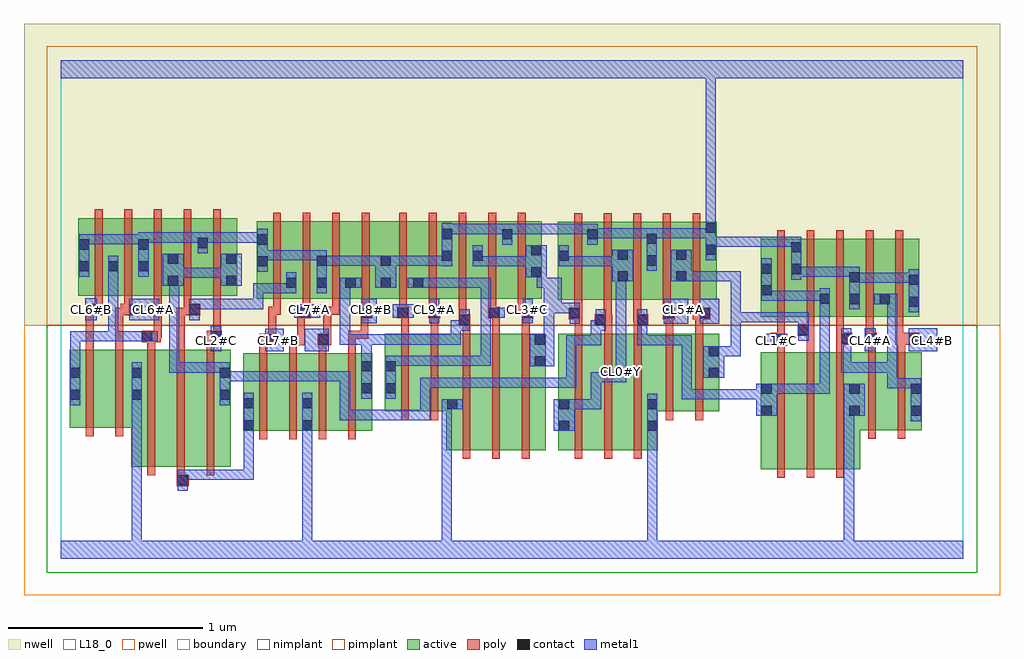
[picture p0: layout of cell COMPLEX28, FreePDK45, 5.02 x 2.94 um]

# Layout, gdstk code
import gdstk
lib = gdstk.Library(unit=1e-6, precision=1e-09)
def R(c, l, rs):  # rectangles x0, y0, x1, y1
    for r in rs: c.add(gdstk.rectangle(r[:2], r[2:], *l))
def A(c, l, x, y, w, h, nx, ny, dx, dy):  # array of equal rectangles
    R(c, l, [(x+i*dx, y+j*dy, x+i*dx+w, y+j*dy+h) for i in range(nx) for j in range(ny)])
active = (1, 0)
pwell = (2, 0)
nwell = (3, 0)
nimplant = (4, 0)
pimplant = (5, 0)
poly = (9, 0)
contact = (10, 0)
metal1 = (11, 0)
L18_0 = (18, 0)
boundary = (235, 0)

complex28 = lib.new_cell('COMPLEX28')
R(complex28, active, [(3.598,0.46,3.778,1.06), (3.778,0.46,3.93,1.06), (3.93,0.46,4.11,1.06), (0.362,0.472,0.542,1.072), (0.542,0.472,0.694,1.072), (0.694,0.472,0.874,1.072), (0.814,0.556,0.874,1.072), (1.982,0.556,2.162,1.156), (2.162,0.556,2.314,1.156), (2.314,0.556,2.494,1.156), (2.434,0.556,2.494,1.156), (2.558,0.556,2.738,1.156), (2.558,0.556,2.618,0.948), (2.738,0.556,2.89,1.156), (2.89,0.556,3.07,1.156), (3.01,0.556,3.07,1.156), (3.598,0.556,3.658,1.06), (0.938,0.656,1.118,1.056), (0.938,0.656,0.998,1.056), (1.118,0.656,1.298,1.056), (1.238,0.656,1.298,1.056), (1.238,0.656,1.422,1.056), (1.422,0.656,1.602,1.056), (4.05,0.66,4.246,1.06), (4.246,0.66,4.426,1.06), (0.046,0.672,0.226,1.072), (0.226,0.672,0.422,1.072), (4.05,0.73,4.11,0.902), (4.366,0.73,4.426,1.06), (0.046,0.756,0.106,1.072), (0.362,0.756,0.422,1.072), (1.542,0.756,1.602,1.056), (1.666,0.756,1.846,1.156), (1.666,0.756,1.726,1.156), (1.846,0.756,2.042,1.156), (1.982,0.756,2.042,1.156), (3.01,0.756,3.206,1.156), (3.206,0.756,3.386,1.156), (3.326,0.756,3.386,1.156), (3.598,1.244,3.658,1.644), (3.598,1.244,3.81,1.644), (3.75,1.244,3.81,1.644), (3.75,1.244,3.958,1.644), (3.898,1.244,3.958,1.644), (3.898,1.244,4.11,1.644), (4.05,1.244,4.11,1.644), (4.05,1.244,4.266,1.644), (4.206,1.244,4.266,1.644), (4.206,1.244,4.414,1.644), (4.354,1.244,4.414,1.644), (2.556,1.33,2.616,1.73), (2.556,1.33,2.764,1.73), (2.704,1.33,2.92,1.73), (2.704,1.33,2.764,1.696), (2.86,1.33,3.068,1.73), (2.86,1.33,2.92,1.644), (3.008,1.33,3.22,1.73), (3.008,1.33,3.068,1.674), (3.16,1.33,3.372,1.73), (3.16,1.33,3.22,1.644), (3.312,1.33,3.372,1.73), (1.008,1.334,1.216,1.734), (1.008,1.334,1.068,1.67), (1.156,1.334,1.372,1.734), (1.156,1.334,1.216,1.644), (1.312,1.334,1.52,1.734), (1.312,1.334,1.372,1.644), (1.46,1.334,1.52,1.644), (1.46,1.334,1.702,1.734), (1.642,1.334,1.702,1.644), (1.642,1.334,1.868,1.734), (1.808,1.334,2.016,1.734), (1.808,1.334,1.868,1.644), (1.956,1.334,2.174,1.734), (1.956,1.334,2.016,1.698), (2.114,1.334,2.326,1.734), (2.114,1.334,2.174,1.644), (2.266,1.334,2.474,1.734), (2.266,1.334,2.326,1.696), (2.414,1.334,2.474,1.644), (0.092,1.35,0.3,1.75), (0.092,1.35,0.152,1.644), (0.24,1.35,0.456,1.75), (0.24,1.35,0.3,1.644), (0.396,1.35,0.608,1.75), (0.548,1.35,0.76,1.75), (0.548,1.35,0.608,1.644), (0.7,1.35,0.908,1.75), (0.7,1.35,0.76,1.652), (0.848,1.35,0.908,1.644), (0.396,1.472,0.456,1.644)])
R(complex28, pwell, [(-0.188,-0.188,4.828,1.2)])
R(complex28, nwell, [(-0.188,1.2,4.828,2.748)])
R(complex28, nimplant, [(-0.072,-0.072,4.712,1.2)])
R(complex28, pimplant, [(-0.072,1.2,4.712,2.632)])
A(complex28, poly, 3.682, 0.416, 0.04, 0.688, 3, 1, 0.152, 0)
A(complex28, poly, 0.446, 0.428, 0.04, 0.688, 3, 1, 0.152, 0)
A(complex28, poly, 2.066, 0.512, 0.04, 0.688, 3, 1, 0.152, 0)
A(complex28, poly, 2.642, 0.512, 0.04, 0.688, 3, 1, 0.152, 0)
A(complex28, poly, 1.022, 0.612, 0.04, 0.488, 4, 1, 0.152, 0)
A(complex28, poly, 1.022, 1.06, 0.04, 0.076, 3, 1, 0.152, 0)
A(complex28, poly, 3.986, 1.12, 0.04, 0.12, 3, 1, 0.152, 0)
A(complex28, poly, 3.682, 1.2, 0.04, 0.488, 5, 1, 0.152, 0)
A(complex28, poly, 1.092, 1.254, 0.04, 0.076, 4, 1, 0.152, 0)
A(complex28, poly, 2.64, 1.286, 0.04, 0.488, 5, 1, 0.152, 0)
A(complex28, poly, 1.092, 1.29, 0.04, 0.488, 4, 1, 0.152, 0)
A(complex28, poly, 2.046, 1.29, 0.04, 0.488, 3, 1, 0.152, 0)
A(complex28, poly, 0.176, 1.306, 0.04, 0.488, 5, 1, 0.152, 0)
R(complex28, poly, [(0.598,0.372,0.658,0.432), (0.598,0.392,0.638,0.468), (4.15,0.616,4.19,1.104), (4.302,0.616,4.342,1.104), (0.13,0.628,0.17,1.116), (0.282,0.628,0.322,1.116), (1.75,0.712,1.79,1.2), (1.902,0.712,1.942,1.2), (3.11,0.712,3.15,1.2), (3.262,0.712,3.302,1.2), (1.478,1.06,1.518,1.17), (3.682,1.064,3.722,1.14), (3.834,1.064,3.874,1.184), (3.986,1.064,4.026,1.14), (4.15,1.064,4.19,1.14), (4.302,1.064,4.342,1.14), (0.13,1.076,0.17,1.29), (0.282,1.076,0.322,1.29), (0.446,1.076,0.486,1.152), (0.598,1.076,0.638,1.29), (0.75,1.076,0.79,1.152), (1.022,1.096,1.108,1.156), (1.174,1.096,1.256,1.136), (1.216,1.096,1.256,1.274), (1.322,1.096,1.39,1.156), (3.65,1.1,3.722,1.16), (3.986,1.1,4.068,1.16), (4.134,1.1,4.194,1.16), (4.15,1.1,4.19,1.14), (4.15,1.1,4.19,1.14), (4.29,1.1,4.414,1.16), (4.302,1.1,4.342,1.14), (4.302,1.1,4.342,1.14), (0.416,1.112,0.516,1.172), (0.75,1.112,0.828,1.172), (1.068,1.116,1.108,1.294), (1.35,1.116,1.39,1.294), (3.682,1.12,3.722,1.24), (3.682,1.12,3.722,1.16), (3.682,1.12,3.722,1.16), (3.986,1.12,4.026,1.16), (3.986,1.12,4.026,1.16), (1.478,1.13,1.582,1.17), (1.542,1.13,1.582,1.274), (0.476,1.132,0.516,1.172), (0.476,1.132,0.52,1.172), (0.48,1.132,0.52,1.346), (0.784,1.132,0.824,1.172), (0.784,1.132,0.824,1.172), (0.784,1.132,0.824,1.346), (3.788,1.144,3.874,1.204), (3.834,1.144,3.874,1.184), (3.834,1.144,3.874,1.184), (1.75,1.16,1.79,1.274), (1.902,1.16,1.942,1.274), (2.066,1.16,2.106,1.236), (2.218,1.16,2.258,1.274), (2.37,1.16,2.41,1.274), (2.642,1.16,2.682,1.27), (2.794,1.16,2.834,1.236), (2.946,1.16,2.986,1.236), (3.11,1.16,3.15,1.27), (3.262,1.16,3.302,1.27), (3.834,1.164,3.874,1.24), (2.046,1.196,2.106,1.256), (2.746,1.196,2.834,1.256), (2.946,1.196,3.02,1.256), (2.046,1.216,2.086,1.256), (2.046,1.216,2.086,1.256), (2.046,1.216,2.086,1.33), (2.792,1.216,2.832,1.256), (2.792,1.216,2.832,1.256), (2.792,1.216,2.832,1.326), (2.944,1.216,2.984,1.326), (2.944,1.216,2.986,1.256), (2.946,1.216,2.986,1.256), (2.612,1.23,2.68,1.29), (2.64,1.23,2.68,1.27), (2.64,1.23,2.682,1.27), (3.096,1.23,3.156,1.29), (3.11,1.23,3.15,1.27), (3.11,1.23,3.15,1.27), (3.248,1.23,3.34,1.29), (3.262,1.23,3.302,1.27), (3.262,1.23,3.302,1.27), (1.216,1.234,1.284,1.294), (1.542,1.234,1.602,1.294), (1.73,1.234,1.79,1.294), (1.75,1.234,1.79,1.274), (1.75,1.234,1.79,1.274), (1.89,1.234,1.95,1.294), (1.902,1.234,1.942,1.274), (1.902,1.234,1.942,1.274), (2.198,1.234,2.258,1.294), (2.37,1.234,2.43,1.294), (0.13,1.25,0.17,1.29), (0.13,1.25,0.17,1.29), (0.13,1.25,0.216,1.31), (0.282,1.25,0.35,1.29), (0.31,1.25,0.35,1.29), (0.31,1.25,0.41,1.31), (0.598,1.25,0.672,1.29), (0.632,1.25,0.672,1.29), (0.632,1.25,0.718,1.31), (2.64,1.25,2.68,1.326), (3.096,1.25,3.136,1.326), (3.248,1.25,3.288,1.326), (1.068,1.254,1.132,1.294), (1.35,1.254,1.436,1.294), (1.74,1.254,1.78,1.33), (1.892,1.254,1.932,1.33), (2.198,1.254,2.238,1.294), (2.198,1.254,2.238,1.294), (2.198,1.254,2.238,1.33), (2.35,1.254,2.39,1.33), (2.35,1.254,2.41,1.294), (2.37,1.254,2.41,1.294), (0.176,1.27,0.216,1.346), (0.328,1.27,0.368,1.346), (0.632,1.27,0.672,1.346), (1.74,1.29,1.78,1.778), (1.892,1.29,1.932,1.778)])
R(complex28, contact, [(0.602,0.376,0.654,0.428), (2.562,0.656,2.614,0.708), (3.014,0.656,3.066,0.708), (0.942,0.66,0.994,0.712), (1.242,0.66,1.294,0.712), (3.602,0.734,3.654,0.786), (4.054,0.734,4.106,0.786), (4.37,0.734,4.422,0.786), (1.986,0.768,2.038,0.82), (2.562,0.768,2.614,0.82), (3.014,0.768,3.066,0.82), (0.942,0.772,0.994,0.824), (1.242,0.772,1.294,0.824), (0.05,0.816,0.102,0.868), (0.366,0.816,0.418,0.868), (0.818,0.816,0.87,0.868), (3.602,0.846,3.654,0.898), (4.054,0.846,4.106,0.898), (4.37,0.846,4.422,0.898), (1.546,0.85,1.598,0.902), (1.67,0.85,1.722,0.902), (0.05,0.928,0.102,0.98), (0.366,0.928,0.418,0.98), (0.818,0.928,0.87,0.98), (3.33,0.928,3.382,0.98), (1.546,0.962,1.598,1.014), (1.67,0.962,1.722,1.014), (2.438,0.988,2.49,1.04), (3.33,1.04,3.382,1.092), (1.052,1.1,1.104,1.152), (1.326,1.1,1.378,1.152), (2.438,1.1,2.49,1.152), (3.654,1.104,3.706,1.156), (4.012,1.104,4.064,1.156), (4.138,1.104,4.19,1.156), (4.358,1.104,4.41,1.156), (0.42,1.116,0.472,1.168), (0.772,1.116,0.824,1.168), (3.792,1.148,3.844,1.2), (2.05,1.2,2.102,1.252), (2.75,1.2,2.802,1.252), (2.964,1.2,3.016,1.252), (2.616,1.234,2.668,1.286), (3.1,1.234,3.152,1.286), (3.284,1.234,3.336,1.286), (1.228,1.238,1.28,1.29), (1.546,1.238,1.598,1.29), (1.734,1.238,1.786,1.29), (1.894,1.238,1.946,1.29), (2.202,1.238,2.254,1.29), (2.374,1.238,2.426,1.29), (0.134,1.254,0.186,1.306), (0.354,1.254,0.406,1.306), (0.662,1.254,0.714,1.306), (4.358,1.294,4.41,1.346), (4.054,1.308,4.106,1.36), (4.21,1.308,4.262,1.36), (3.902,1.31,3.954,1.362), (3.602,1.352,3.654,1.404), (1.16,1.392,1.212,1.444), (1.316,1.392,1.368,1.444), (1.464,1.392,1.516,1.444), (1.646,1.392,1.698,1.444), (1.812,1.392,1.864,1.444), (0.552,1.402,0.604,1.454), (0.852,1.402,0.904,1.454), (4.358,1.406,4.41,1.458), (4.054,1.42,4.106,1.472), (2.864,1.424,2.916,1.476), (3.164,1.424,3.216,1.476), (2.418,1.446,2.47,1.498), (3.754,1.462,3.806,1.514), (3.602,1.464,3.654,1.516), (0.096,1.476,0.148,1.528), (0.244,1.476,0.296,1.528), (0.4,1.476,0.452,1.528), (1.012,1.502,1.064,1.554), (1.316,1.504,1.368,1.556), (1.646,1.504,1.698,1.556), (3.012,1.506,3.064,1.558), (0.552,1.514,0.604,1.566), (0.852,1.514,0.904,1.566), (1.96,1.53,2.012,1.582), (2.118,1.53,2.17,1.582), (2.56,1.53,2.612,1.582), (2.864,1.536,2.916,1.588), (3.164,1.536,3.216,1.588), (2.418,1.558,2.47,1.61), (3.316,1.562,3.368,1.614), (3.754,1.574,3.806,1.626), (0.096,1.588,0.148,1.64), (0.4,1.588,0.452,1.64), (0.704,1.596,0.756,1.648), (1.012,1.614,1.064,1.666), (3.012,1.618,3.064,1.67), (2.27,1.64,2.322,1.692), (2.708,1.64,2.76,1.692), (1.96,1.642,2.012,1.694), (3.316,1.674,3.368,1.726)])
A(complex28, metal1, 2.854, 1.646, 0.052, 0.052, 3, 1, 0.11, 0)
R(complex28, metal1, [(0,0,4.64,0.092), (0.366,0.04,0.418,0.092), (0.366,0.04,0.418,0.092), (0.366,0.04,0.418,0.84), (1.242,0.04,1.294,0.684), (1.958,0.04,2.01,0.82), (3.014,0.04,3.066,0.092), (3.014,0.04,3.066,0.092), (3.014,0.04,3.066,0.092), (3.014,0.04,3.066,0.092), (3.014,0.04,3.066,0.092), (3.014,0.04,3.066,0.092), (3.014,0.04,3.066,0.68), (4.026,0.04,4.078,0.092), (4.026,0.04,4.078,0.092), (4.026,0.04,4.078,0.786), (0.602,0.348,0.654,0.456), (0.602,0.404,0.744,0.456), (0.692,0.404,0.744,0.456), (0.692,0.404,0.882,0.456), (0.83,0.404,0.882,0.456), (0.83,0.404,0.882,0.456), (0.83,0.404,0.882,0.456), (0.83,0.404,0.882,0.456), (0.83,0.404,0.882,0.456), (0.83,0.404,0.994,0.456), (0.942,0.404,0.994,0.456), (0.942,0.404,0.994,0.456), (0.942,0.404,0.994,0.456), (0.942,0.404,0.994,0.684), (3.014,0.628,3.066,0.68), (3.014,0.628,3.066,0.68), (3.014,0.628,3.066,0.848), (0.942,0.632,0.994,0.852), (1.242,0.632,1.294,0.684), (1.242,0.632,1.294,0.684), (1.242,0.632,1.294,0.684), (1.242,0.632,1.294,0.684), (1.242,0.632,1.294,0.684), (1.242,0.632,1.294,0.684), (1.242,0.632,1.294,0.684), (1.242,0.632,1.294,0.684), (1.242,0.632,1.294,0.684), (1.242,0.632,1.294,0.684), (1.242,0.632,1.294,0.684), (1.242,0.632,1.294,0.684), (1.242,0.632,1.294,0.852), (2.534,0.656,2.642,0.82), (4.37,0.706,4.422,0.926), (1.436,0.712,1.488,0.764), (1.436,0.712,1.488,0.764), (1.436,0.712,1.488,0.764), (1.436,0.712,1.598,0.764), (1.436,0.712,1.488,0.962), (1.546,0.712,1.598,0.764), (1.546,0.712,1.598,0.764), (1.546,0.712,1.598,0.764), (1.546,0.712,1.756,0.764), (1.704,0.712,1.756,0.764), (1.704,0.712,1.9,0.764), (1.848,0.712,1.9,0.93), (3.574,0.734,3.682,0.898), (4.026,0.734,4.078,0.786), (4.026,0.734,4.078,0.786), (4.026,0.734,4.078,0.786), (4.026,0.734,4.078,0.786), (4.026,0.734,4.078,0.786), (4.026,0.734,4.078,0.786), (4.026,0.734,4.134,0.898), (1.958,0.768,2.01,0.82), (1.958,0.768,2.01,0.82), (1.958,0.768,2.01,0.82), (1.958,0.768,2.01,0.82), (1.958,0.768,2.01,0.82), (1.958,0.768,2.01,0.82), (1.958,0.768,2.01,0.82), (1.958,0.768,2.01,0.82), (1.958,0.768,2.066,0.82), (2.59,0.768,2.646,0.82), (2.594,0.768,2.646,0.82), (2.594,0.768,2.778,0.82), (2.726,0.768,2.778,0.82), (2.726,0.768,2.778,0.958), (0.05,0.788,0.102,1.008), (0.366,0.788,0.418,0.84), (0.366,0.788,0.418,0.84), (0.366,0.788,0.418,0.84), (0.366,0.788,0.418,0.84), (0.366,0.788,0.418,0.84), (0.366,0.788,0.418,0.84), (0.366,0.788,0.418,1.008), (0.818,0.788,0.87,1.008), (3.192,0.818,3.244,0.87), (3.192,0.818,3.244,0.87), (3.192,0.818,3.244,0.87), (3.192,0.818,3.354,0.87), (3.192,0.818,3.244,1.148), (3.302,0.818,3.354,0.87), (3.302,0.818,3.626,0.87), (1.546,0.822,1.598,1.042), (1.67,0.822,1.722,1.042), (3.63,0.846,3.682,0.898), (3.63,0.846,3.682,0.898), (3.63,0.846,3.682,0.898), (3.63,0.846,3.682,0.898), (3.63,0.846,3.792,0.898), (3.74,0.846,3.792,0.898), (3.74,0.846,3.954,0.898), (3.902,0.846,3.954,0.898), (3.902,0.846,3.954,0.898), (3.902,0.846,3.954,0.898), (3.902,0.846,3.954,0.898), (3.902,0.846,3.954,0.898), (3.902,0.846,3.954,0.898), (3.902,0.846,3.954,0.898), (3.902,0.846,3.954,1.334), (4.248,0.874,4.3,0.926), (4.248,0.874,4.422,0.926), (4.248,0.874,4.3,1.008), (4.37,0.874,4.422,0.926), (4.37,0.874,4.422,0.926), (1.848,0.878,1.9,0.93), (1.848,0.878,1.9,0.93), (1.848,0.878,2.01,0.93), (1.958,0.878,2.01,0.93), (1.958,0.878,2.102,0.93), (2.05,0.878,2.102,0.93), (2.05,0.878,2.212,0.93), (2.16,0.878,2.212,0.93), (2.16,0.878,2.212,0.93), (2.16,0.878,2.212,0.93), (2.16,0.878,2.332,0.93), (2.28,0.878,2.332,0.93), (2.28,0.878,2.442,0.93), (2.39,0.878,2.442,0.93), (2.39,0.878,2.442,0.93), (2.39,0.878,2.442,0.93), (2.39,0.878,2.65,0.93), (2.598,0.878,2.65,0.93), (2.598,0.878,2.65,0.93), (2.598,0.878,2.65,0.93), (2.598,0.878,2.65,1.148), (2.726,0.906,2.778,0.958), (2.726,0.906,2.778,0.958), (2.726,0.906,2.778,0.958), (2.726,0.906,2.778,0.958), (2.726,0.906,2.778,0.958), (2.726,0.906,2.906,0.958), (2.854,0.906,2.906,0.958), (2.854,0.906,2.906,0.958), (2.854,0.906,2.906,1.014), (0.818,0.91,1.074,0.962), (1.022,0.91,1.074,0.962), (1.022,0.91,1.074,0.962), (1.022,0.91,1.074,0.962), (1.022,0.91,1.184,0.962), (1.132,0.91,1.184,0.962), (1.132,0.91,1.184,0.962), (1.132,0.91,1.184,0.962), (1.132,0.91,1.294,0.962), (1.242,0.91,1.294,0.962), (1.242,0.91,1.294,0.962), (1.242,0.91,1.294,0.962), (1.242,0.91,1.488,0.962), (1.436,0.91,1.488,0.962), (3.302,0.928,3.41,1.092), (0.05,0.956,0.102,1.168), (0.558,0.956,0.61,1.008), (0.558,0.956,0.714,1.008), (0.558,0.956,0.61,1.454), (0.662,0.956,0.714,1.008), (0.662,0.956,0.744,1.008), (0.692,0.956,0.744,1.008), (0.692,0.956,0.87,1.008), (0.818,0.956,0.87,1.008), (0.818,0.956,0.87,1.008), (4.012,0.956,4.3,1.008), (4.012,0.956,4.064,1.128), (4.248,0.956,4.3,1.008), (4.248,0.956,4.3,1.008), (4.248,0.956,4.3,1.008), (4.248,0.956,4.3,1.36), (2.854,0.962,2.906,1.476), (2.41,0.988,2.536,1.152), (1.546,0.99,1.598,1.152), (1.67,0.99,1.722,1.042), (1.67,0.99,1.722,1.042), (1.67,0.99,1.9,1.042), (1.848,0.99,1.9,1.042), (1.848,0.99,1.9,1.042), (1.848,0.99,1.9,1.042), (1.848,0.99,2.06,1.042), (2.008,0.99,2.06,1.042), (2.008,0.99,2.06,1.042), (2.008,0.99,2.06,1.042), (2.008,0.99,2.212,1.042), (2.16,0.99,2.212,1.042), (2.16,0.99,2.212,1.29), (3.358,1.04,3.41,1.092), (3.358,1.04,3.496,1.092), (3.444,1.04,3.496,1.266), (0.772,1.066,0.826,1.196), (1.052,1.066,1.146,1.18), (1.254,1.066,1.378,1.18), (4.134,1.066,4.19,1.184), (4.358,1.066,4.506,1.184), (4.012,1.076,4.064,1.128), (4.012,1.076,4.064,1.184), (3.626,1.094,3.734,1.156), (2.598,1.096,2.65,1.148), (2.598,1.096,2.65,1.148), (2.598,1.096,2.65,1.148), (2.598,1.096,2.778,1.148), (2.726,1.096,2.778,1.224), (2.964,1.096,3.126,1.148), (2.964,1.096,3.016,1.224), (3.074,1.096,3.126,1.148), (3.074,1.096,3.244,1.148), (3.192,1.096,3.244,1.148), (3.192,1.096,3.244,1.148), (3.192,1.096,3.244,1.148), (1.436,1.1,1.488,1.152), (1.436,1.1,1.488,1.152), (1.436,1.1,1.488,1.152), (1.436,1.1,1.488,1.152), (1.436,1.1,1.488,1.152), (1.436,1.1,1.598,1.152), (1.436,1.1,1.488,1.444), (1.546,1.1,1.598,1.152), (1.546,1.1,1.598,1.152), (1.546,1.1,1.598,1.152), (1.546,1.1,1.722,1.152), (1.67,1.1,1.722,1.152), (1.67,1.1,1.866,1.152), (1.814,1.1,1.866,1.152), (1.814,1.1,1.866,1.152), (1.814,1.1,1.866,1.152), (1.814,1.1,2.056,1.152), (2.004,1.1,2.056,1.224), (2.484,1.1,2.536,1.152), (2.484,1.1,2.536,1.152), (2.484,1.1,2.536,1.444), (0.05,1.116,0.102,1.168), (0.05,1.116,0.102,1.168), (0.05,1.116,0.102,1.168), (0.05,1.116,0.296,1.168), (0.244,1.116,0.296,1.168), (0.244,1.116,0.296,1.168), (0.244,1.116,0.296,1.168), (0.244,1.116,0.296,1.168), (0.244,1.116,0.296,1.168), (0.244,1.116,0.444,1.168), (0.244,1.116,0.296,1.5), (0.392,1.116,0.444,1.168), (0.392,1.116,0.444,1.168), (0.392,1.116,0.5,1.168), (3.792,1.12,3.844,1.228), (2.004,1.172,2.102,1.224), (2.05,1.172,2.102,1.28), (2.726,1.172,2.802,1.224), (2.75,1.172,2.802,1.28), (2.964,1.172,3.016,1.224), (2.964,1.172,3.016,1.28), (3.792,1.176,3.844,1.228), (3.792,1.176,3.844,1.266), (2.616,1.206,2.668,1.314), (3.1,1.206,3.226,1.334), (3.284,1.206,3.386,1.334), (1.546,1.21,1.626,1.334), (1.894,1.21,1.946,1.334), (2.374,1.21,2.426,1.334), (3.444,1.214,3.496,1.266), (3.444,1.214,3.496,1.266), (3.444,1.214,3.496,1.266), (3.444,1.214,3.722,1.266), (3.444,1.214,3.496,1.476), (3.67,1.214,3.722,1.266), (3.67,1.214,3.844,1.266), (0.126,1.226,0.186,1.338), (0.354,1.226,0.506,1.334), (0.662,1.226,0.714,1.334), (1.2,1.238,1.334,1.306), (1.706,1.238,1.814,1.306), (2.16,1.238,2.212,1.29), (2.16,1.238,2.226,1.29), (2.16,1.238,2.212,1.444), (2.174,1.238,2.282,1.29), (2.524,1.262,2.668,1.314), (2.524,1.262,2.576,1.444), (4.358,1.266,4.41,1.486), (4.054,1.28,4.106,1.5), (0.662,1.282,0.76,1.334), (0.708,1.282,0.76,1.334), (0.708,1.282,0.87,1.334), (0.818,1.282,0.87,1.334), (0.818,1.282,0.87,1.334), (0.818,1.282,0.87,1.334), (0.818,1.282,1.042,1.334), (0.99,1.282,1.042,1.334), (0.99,1.282,1.042,1.416), (3.902,1.282,3.954,1.39), (4.182,1.308,4.3,1.36), (4.248,1.308,4.3,1.36), (4.248,1.308,4.3,1.36), (3.602,1.324,3.654,1.376), (3.602,1.324,3.654,1.376), (3.602,1.324,3.654,1.544), (3.602,1.324,3.802,1.376), (3.75,1.324,3.802,1.376), (3.75,1.324,3.954,1.376), (3.902,1.324,3.954,1.376), (3.902,1.324,3.954,1.376), (0.99,1.364,1.042,1.416), (0.99,1.364,1.042,1.416), (0.99,1.364,1.042,1.416), (0.99,1.364,1.212,1.416), (1.16,1.364,1.212,1.472), (1.316,1.364,1.368,1.584), (1.436,1.392,1.544,1.444), (1.618,1.392,1.726,1.556), (1.784,1.392,1.892,1.444), (1.84,1.392,1.892,1.444), (1.84,1.392,1.892,1.444), (1.84,1.392,2.056,1.444), (2.004,1.392,2.056,1.444), (2.004,1.392,2.056,1.444), (2.004,1.392,2.056,1.444), (2.004,1.392,2.056,1.444), (2.004,1.392,2.056,1.444), (2.004,1.392,2.212,1.444), (2.16,1.392,2.212,1.444), (2.446,1.392,2.536,1.444), (2.446,1.392,2.498,1.498), (2.484,1.392,2.576,1.444), (0.524,1.402,0.632,1.566), (0.558,1.402,0.61,1.454), (0.558,1.402,0.61,1.454), (0.558,1.402,0.61,1.454), (0.558,1.402,0.61,1.454), (0.824,1.402,0.932,1.566), (4.054,1.418,4.216,1.47), (4.164,1.418,4.216,1.47), (4.164,1.418,4.216,1.47), (4.164,1.418,4.216,1.47), (4.164,1.418,4.41,1.47), (4.358,1.418,4.41,1.47), (4.358,1.418,4.41,1.47), (2.836,1.424,2.944,1.588), (2.854,1.424,2.906,1.476), (2.854,1.424,2.906,1.476), (3.136,1.424,3.244,1.588), (3.192,1.424,3.244,1.476), (3.192,1.424,3.244,1.476), (3.192,1.424,3.496,1.476), (3.444,1.424,3.496,1.476), (3.754,1.434,3.806,1.654), (0.58,1.442,0.632,1.494), (0.58,1.442,0.632,1.494), (0.58,1.442,0.76,1.494), (0.708,1.442,0.76,1.494), (0.708,1.442,0.876,1.494), (0.824,1.442,0.876,1.494), (0.824,1.442,0.876,1.494), (2.39,1.446,2.498,1.61), (0.096,1.448,0.148,1.668), (0.244,1.448,0.296,1.556), (0.4,1.448,0.452,1.668), (3.754,1.448,3.954,1.5), (3.902,1.448,3.954,1.5), (3.902,1.448,3.954,1.5), (3.902,1.448,3.954,1.5), (3.902,1.448,4.076,1.5), (4.024,1.448,4.076,1.5), (4.024,1.448,4.106,1.5), (1.012,1.474,1.064,1.694), (3.012,1.478,3.064,1.698), (1.96,1.502,2.012,1.722), (2.118,1.502,2.17,1.61), (2.118,1.502,2.212,1.554), (2.16,1.502,2.212,1.554), (2.16,1.502,2.332,1.554), (2.28,1.502,2.332,1.554), (2.28,1.502,2.442,1.554), (2.39,1.502,2.442,1.554), (2.39,1.502,2.442,1.554), (2.56,1.502,2.612,1.61), (2.56,1.502,2.65,1.554), (2.598,1.502,2.65,1.554), (2.598,1.502,2.76,1.554), (2.708,1.502,2.76,1.554), (2.708,1.502,2.76,1.554), (2.708,1.502,2.76,1.554), (2.708,1.502,2.888,1.554), (1.316,1.504,1.368,1.556), (1.316,1.504,1.368,1.556), (1.316,1.504,1.488,1.556), (1.436,1.504,1.488,1.556), (1.436,1.504,1.488,1.556), (1.436,1.504,1.488,1.556), (1.436,1.504,1.612,1.556), (1.56,1.504,1.612,1.556), (1.56,1.504,1.67,1.556), (1.674,1.504,1.726,1.556), (1.674,1.504,1.726,1.556), (1.674,1.504,1.9,1.556), (1.848,1.504,1.9,1.556), (1.848,1.504,1.9,1.556), (1.848,1.504,1.9,1.556), (1.848,1.504,2.012,1.556), (1.012,1.532,1.064,1.584), (1.012,1.532,1.064,1.584), (1.012,1.532,1.184,1.584), (1.132,1.532,1.184,1.584), (1.132,1.532,1.184,1.584), (1.132,1.532,1.184,1.584), (1.132,1.532,1.368,1.584), (3.316,1.534,3.368,1.754), (0.704,1.568,0.756,1.676), (3.316,1.602,3.606,1.654), (3.554,1.602,3.606,1.654), (3.554,1.602,3.606,1.654), (3.554,1.602,3.606,1.654), (3.554,1.602,3.806,1.654), (2.27,1.612,2.322,1.72), (2.708,1.612,2.76,1.72), (0.096,1.616,0.148,1.668), (0.096,1.616,0.148,1.668), (0.096,1.616,0.308,1.668), (0.256,1.616,0.308,1.668), (0.256,1.616,0.308,1.668), (0.256,1.616,0.308,1.668), (0.256,1.616,0.452,1.668), (0.4,1.616,0.452,1.668), (0.4,1.616,0.452,1.676), (0.4,1.624,0.634,1.676), (0.582,1.624,0.634,1.676), (0.582,1.624,0.634,1.676), (0.582,1.624,0.634,1.676), (0.582,1.624,0.756,1.676), (0.704,1.624,0.87,1.676), (0.818,1.624,0.87,1.676), (0.818,1.624,0.87,1.676), (0.818,1.624,0.87,1.676), (0.818,1.624,1.064,1.676), (2.708,1.646,2.76,1.698), (2.708,1.646,2.76,1.698), (2.708,1.646,2.906,1.698), (2.854,1.646,3.016,1.698), (2.964,1.646,3.064,1.698), (3.012,1.646,3.126,1.698), (3.074,1.646,3.174,1.698), (3.122,1.646,3.174,1.698), (3.122,1.646,3.368,1.698), (3.316,1.646,3.368,1.698), (3.316,1.646,3.368,1.698), (1.96,1.668,2.056,1.72), (2.004,1.668,2.056,1.72), (2.004,1.668,2.212,1.72), (2.16,1.668,2.212,1.72), (2.16,1.668,2.212,1.72), (2.16,1.668,2.212,1.72), (2.16,1.668,2.322,1.72), (2.27,1.668,2.466,1.72), (2.414,1.668,2.466,1.72), (2.414,1.668,2.466,1.72), (2.414,1.668,2.466,1.72), (2.414,1.668,2.65,1.72), (2.598,1.668,2.65,1.72), (2.598,1.668,2.65,1.72), (2.598,1.668,2.65,1.72), (2.598,1.668,2.76,1.72), (3.316,1.702,3.368,1.754), (3.316,1.702,3.368,1.754), (3.316,1.702,3.368,1.754), (3.316,1.702,3.368,1.754), (3.316,1.702,3.368,1.754), (3.316,1.702,3.368,1.754), (3.316,1.702,3.368,1.754), (3.316,1.702,3.368,1.754), (3.316,1.702,3.368,1.754), (3.316,1.702,3.368,1.754), (3.316,1.702,3.368,2.52), (0,2.468,4.64,2.56), (3.316,2.468,3.368,2.52), (3.316,2.468,3.368,2.52), (3.316,2.468,3.368,2.52), (3.316,2.468,3.368,2.52), (3.316,2.468,3.368,2.52), (3.316,2.468,3.368,2.52)])
A(complex28, L18_0, 1.574, 1.254, 0.052, 0.052, 3, 1, 0.16, 0)
A(complex28, L18_0, 2.854, 1.646, 0.052, 0.052, 3, 1, 0.11, 0)
R(complex28, L18_0, [(0,0,4.64,0.092), (0.366,0.04,0.418,0.092), (0.366,0.04,0.418,0.092), (0.366,0.04,0.418,0.84), (1.242,0.04,1.294,0.684), (1.958,0.04,2.01,0.82), (3.014,0.04,3.066,0.092), (3.014,0.04,3.066,0.092), (3.014,0.04,3.066,0.092), (3.014,0.04,3.066,0.092), (3.014,0.04,3.066,0.092), (3.014,0.04,3.066,0.092), (3.014,0.04,3.066,0.68), (4.026,0.04,4.078,0.092), (4.026,0.04,4.078,0.092), (4.026,0.04,4.078,0.786), (3.014,0.628,3.066,0.848), (3.014,0.628,3.066,0.68), (3.014,0.628,3.066,0.68), (1.242,0.632,1.294,0.852), (1.242,0.632,1.294,0.684), (1.242,0.632,1.294,0.684), (1.242,0.632,1.294,0.684), (1.242,0.632,1.294,0.684), (1.242,0.632,1.294,0.684), (1.242,0.632,1.294,0.684), (1.242,0.632,1.294,0.684), (1.242,0.632,1.294,0.684), (1.242,0.632,1.294,0.684), (1.242,0.632,1.294,0.684), (1.242,0.632,1.294,0.684), (1.242,0.632,1.294,0.684), (2.534,0.656,2.642,0.82), (4.026,0.734,4.078,0.786), (4.026,0.734,4.078,0.786), (4.026,0.734,4.078,0.786), (4.026,0.734,4.078,0.786), (4.026,0.734,4.078,0.786), (4.026,0.734,4.078,0.786), (4.026,0.734,4.134,0.898), (1.958,0.768,2.01,0.82), (1.958,0.768,2.01,0.82), (1.958,0.768,2.01,0.82), (1.958,0.768,2.01,0.82), (1.958,0.768,2.01,0.82), (1.958,0.768,2.01,0.82), (1.958,0.768,2.01,0.82), (1.958,0.768,2.01,0.82), (1.958,0.768,2.066,0.82), (2.59,0.768,2.646,0.82), (2.594,0.768,2.646,0.82), (2.594,0.768,2.778,0.82), (2.726,0.768,2.778,0.82), (2.726,0.768,2.778,0.958), (0.366,0.788,0.418,1.008), (0.366,0.788,0.418,0.84), (0.366,0.788,0.418,0.84), (0.366,0.788,0.418,0.84), (0.366,0.788,0.418,0.84), (0.366,0.788,0.418,0.84), (0.366,0.788,0.418,0.84), (2.726,0.906,2.778,0.958), (2.726,0.906,2.778,0.958), (2.726,0.906,2.778,0.958), (2.726,0.906,2.778,0.958), (2.726,0.906,2.778,0.958), (2.726,0.906,2.906,0.958), (2.854,0.906,2.906,0.958), (2.854,0.906,2.906,0.958), (2.854,0.906,2.906,1.014), (2.854,0.934,2.906,0.986), (2.854,0.962,2.906,1.476), (0.772,1.066,0.826,1.196), (1.052,1.066,1.146,1.18), (1.254,1.066,1.378,1.18), (4.134,1.066,4.19,1.184), (4.358,1.066,4.506,1.184), (0.774,1.094,0.826,1.146), (1.094,1.094,1.146,1.146), (1.254,1.094,1.306,1.146), (3.626,1.094,3.734,1.156), (3.654,1.094,3.706,1.146), (4.134,1.094,4.186,1.146), (4.454,1.094,4.506,1.146), (3.1,1.206,3.226,1.334), (3.284,1.206,3.386,1.334), (1.546,1.21,1.626,1.334), (1.894,1.21,1.946,1.334), (2.374,1.21,2.426,1.334), (0.126,1.226,0.186,1.338), (0.354,1.226,0.506,1.334), (1.2,1.238,1.334,1.306), (1.706,1.238,1.814,1.306), (0.134,1.254,0.186,1.306), (0.454,1.254,0.506,1.306), (1.254,1.254,1.306,1.306), (2.374,1.254,2.426,1.306), (3.174,1.254,3.226,1.306), (3.334,1.254,3.386,1.306), (4.358,1.266,4.41,1.486), (4.054,1.28,4.106,1.5), (1.316,1.364,1.368,1.584), (1.618,1.392,1.726,1.556), (4.054,1.418,4.216,1.47), (4.164,1.418,4.216,1.47), (4.164,1.418,4.216,1.47), (4.164,1.418,4.216,1.47), (4.164,1.418,4.41,1.47), (4.358,1.418,4.41,1.47), (4.358,1.418,4.41,1.47), (2.836,1.424,2.944,1.588), (2.854,1.424,2.906,1.476), (2.854,1.424,2.906,1.476), (3.754,1.434,3.806,1.654), (0.096,1.448,0.148,1.668), (0.4,1.448,0.452,1.668), (3.754,1.448,3.954,1.5), (3.902,1.448,3.954,1.5), (3.902,1.448,3.954,1.5), (3.902,1.448,3.954,1.5), (3.902,1.448,4.076,1.5), (4.024,1.448,4.076,1.5), (4.024,1.448,4.106,1.5), (1.012,1.474,1.064,1.694), (3.012,1.478,3.064,1.698), (1.96,1.502,2.012,1.722), (2.56,1.502,2.612,1.61), (2.56,1.502,2.65,1.554), (2.598,1.502,2.65,1.554), (2.598,1.502,2.76,1.554), (2.708,1.502,2.76,1.554), (2.708,1.502,2.76,1.554), (2.708,1.502,2.76,1.554), (2.708,1.502,2.888,1.554), (1.316,1.504,1.368,1.556), (1.316,1.504,1.368,1.556), (1.316,1.504,1.488,1.556), (1.436,1.504,1.488,1.556), (1.436,1.504,1.488,1.556), (1.436,1.504,1.488,1.556), (1.436,1.504,1.612,1.556), (1.56,1.504,1.612,1.556), (1.56,1.504,1.67,1.556), (1.674,1.504,1.726,1.556), (1.674,1.504,1.726,1.556), (1.674,1.504,1.9,1.556), (1.848,1.504,1.9,1.556), (1.848,1.504,1.9,1.556), (1.848,1.504,1.9,1.556), (1.848,1.504,2.012,1.556), (1.012,1.532,1.064,1.584), (1.012,1.532,1.064,1.584), (1.012,1.532,1.184,1.584), (1.132,1.532,1.184,1.584), (1.132,1.532,1.184,1.584), (1.132,1.532,1.184,1.584), (1.132,1.532,1.368,1.584), (3.316,1.534,3.368,1.754), (0.704,1.568,0.756,1.676), (3.316,1.602,3.606,1.654), (3.554,1.602,3.606,1.654), (3.554,1.602,3.606,1.654), (3.554,1.602,3.606,1.654), (3.554,1.602,3.806,1.654), (2.27,1.612,2.322,1.72), (2.708,1.612,2.76,1.72), (0.096,1.616,0.148,1.668), (0.096,1.616,0.148,1.668), (0.096,1.616,0.308,1.668), (0.256,1.616,0.308,1.668), (0.256,1.616,0.308,1.668), (0.256,1.616,0.308,1.668), (0.256,1.616,0.452,1.668), (0.4,1.616,0.452,1.668), (0.4,1.616,0.452,1.676), (0.4,1.624,0.634,1.676), (0.582,1.624,0.634,1.676), (0.582,1.624,0.634,1.676), (0.582,1.624,0.634,1.676), (0.582,1.624,0.756,1.676), (0.704,1.624,0.87,1.676), (0.818,1.624,0.87,1.676), (0.818,1.624,0.87,1.676), (0.818,1.624,0.87,1.676), (0.818,1.624,1.064,1.676), (2.708,1.646,2.76,1.698), (2.708,1.646,2.76,1.698), (2.708,1.646,2.906,1.698), (2.854,1.646,3.016,1.698), (2.964,1.646,3.064,1.698), (3.012,1.646,3.126,1.698), (3.074,1.646,3.174,1.698), (3.122,1.646,3.174,1.698), (3.122,1.646,3.368,1.698), (3.316,1.646,3.368,1.698), (3.316,1.646,3.368,1.698), (1.96,1.668,2.056,1.72), (2.004,1.668,2.056,1.72), (2.004,1.668,2.212,1.72), (2.16,1.668,2.212,1.72), (2.16,1.668,2.212,1.72), (2.16,1.668,2.212,1.72), (2.16,1.668,2.322,1.72), (2.27,1.668,2.466,1.72), (2.414,1.668,2.466,1.72), (2.414,1.668,2.466,1.72), (2.414,1.668,2.466,1.72), (2.414,1.668,2.65,1.72), (2.598,1.668,2.65,1.72), (2.598,1.668,2.65,1.72), (2.598,1.668,2.65,1.72), (2.598,1.668,2.76,1.72), (3.316,1.702,3.368,1.754), (3.316,1.702,3.368,1.754), (3.316,1.702,3.368,1.754), (3.316,1.702,3.368,1.754), (3.316,1.702,3.368,1.754), (3.316,1.702,3.368,1.754), (3.316,1.702,3.368,1.754), (3.316,1.702,3.368,1.754), (3.316,1.702,3.368,1.754), (3.316,1.702,3.368,1.754), (3.316,1.702,3.368,2.52), (0,2.468,4.64,2.56), (3.316,2.468,3.368,2.52), (3.316,2.468,3.368,2.52), (3.316,2.468,3.368,2.52), (3.316,2.468,3.368,2.52), (3.316,2.468,3.368,2.52), (3.316,2.468,3.368,2.52)])
R(complex28, boundary, [(0,0,4.64,2.56)])
complex28.add(gdstk.Label('CL0#Y', (2.88,0.96), layer=11, texttype=0))
complex28.add(gdstk.Label('CL1#C', (3.68,1.12), layer=11, texttype=0))
complex28.add(gdstk.Label('CL2#C', (0.8,1.12), layer=11, texttype=0))
complex28.add(gdstk.Label('CL3#C', (2.4,1.28), layer=11, texttype=0))
complex28.add(gdstk.Label('CL4#A', (4.16,1.12), layer=11, texttype=0))
complex28.add(gdstk.Label('CL4#B', (4.48,1.12), layer=11, texttype=0))
complex28.add(gdstk.Label('CL5#A', (3.2,1.28), layer=11, texttype=0))
complex28.add(gdstk.Label('CL5#B', (3.36,1.28), layer=11, texttype=0))
complex28.add(gdstk.Label('CL6#A', (0.48,1.28), layer=11, texttype=0))
complex28.add(gdstk.Label('CL6#B', (0.16,1.28), layer=11, texttype=0))
complex28.add(gdstk.Label('CL7#A', (1.28,1.28), layer=11, texttype=0))
complex28.add(gdstk.Label('CL7#B', (1.12,1.12), layer=11, texttype=0))
complex28.add(gdstk.Label('CL8#A', (1.28,1.12), layer=11, texttype=0))
complex28.add(gdstk.Label('CL8#B', (1.6,1.28), layer=11, texttype=0))
complex28.add(gdstk.Label('CL9#A', (1.92,1.28), layer=11, texttype=0))
complex28.add(gdstk.Label('CL9#B', (1.76,1.28), layer=11, texttype=0))

lib.write_gds('COMPLEX28.gds')
